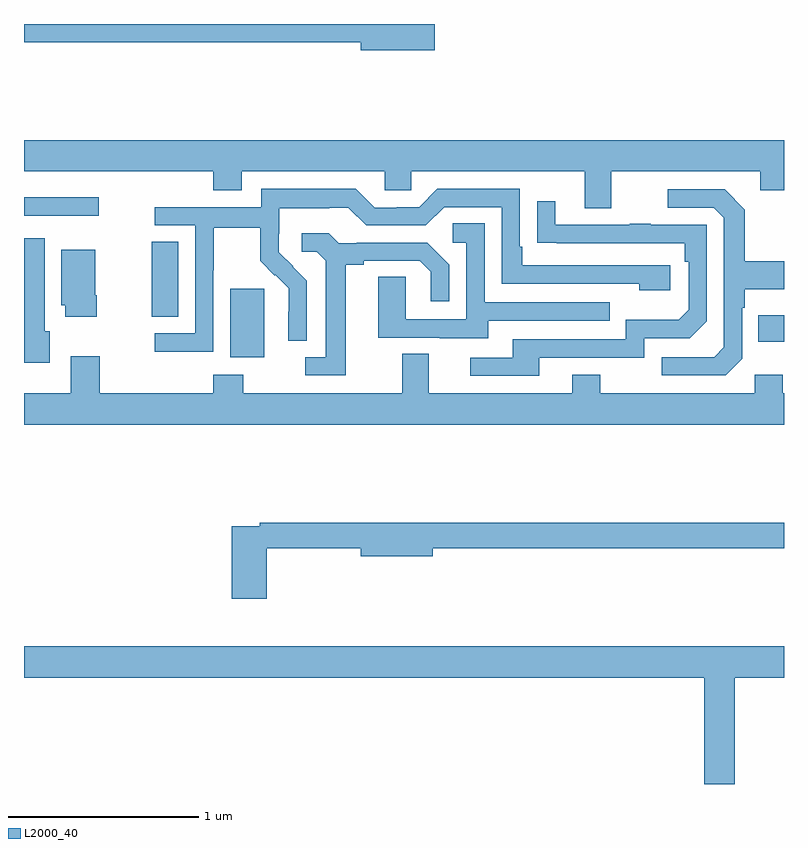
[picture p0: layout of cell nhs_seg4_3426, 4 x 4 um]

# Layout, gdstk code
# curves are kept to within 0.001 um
import gdstk
lib = gdstk.Library(unit=1e-6, precision=1e-09)
def R(c, l, rs):  # rectangles x0, y0, x1, y1
    for r in rs: c.add(gdstk.rectangle(r[:2], r[2:], *l))
def P(c, l, *ps):  # polygons
    for p in ps: c.add(gdstk.Polygon(p, *l))
L2000_40 = (2000, 40)

nhs_seg4_3426 = lib.new_cell('nhs_seg4_3426')
R(nhs_seg4_3426, L2000_40, [(292.085,825.146,292.264,825.507), (294.865,825.227,295,825.367), (291.673,825.358,291.811,825.755), (291,825.891,291.394,825.988)])
P(nhs_seg4_3426, L2000_40, [(293.161,826.9),(291,826.9),(291,826.804),(292.772,826.804),(292.772,826.762),(293.161,826.762)],
  [(294.091,826.124),(294.875,826.124),(294.875,826.025),(295,826.025),(295,826.288),(291,826.288),(291,826.124),(291.995,826.124),(291.995,826.025),(292.147,826.025),(292.147,826.124),(292.899,826.124),(292.899,826.026),(293.037,826.026),(293.037,826.124),(293.951,826.124),(293.951,825.93),(294.091,825.93)],
  [(291.996,825.604),(291.999,825.604),(291.999,825.828),(292.243,825.828),(292.243,825.653),(292.32,825.576),(292.323,825.579),(292.394,825.509),(292.394,825.386),(292.392,825.386),(292.392,825.232),(292.488,825.232),(292.488,825.55),(292.342,825.698),(292.342,825.795),(292.344,825.795),(292.344,825.929),(292.607,825.929),(292.607,825.933),(292.707,825.933),(292.8,825.84),(293.115,825.84),(293.211,825.936),(293.514,825.936),(293.514,825.534),(294.239,825.534),(294.239,825.5),(294.4,825.5),(294.4,825.63),(293.623,825.63),(293.623,825.727),(293.61,825.727),(293.61,826.032),(293.175,826.032),(293.079,825.936),(292.961,825.936),(292.961,825.933),(292.845,825.933),(292.745,826.033),(292.248,826.033),(292.248,825.936),(291.687,825.936),(291.687,825.84),(291.9,825.84),(291.9,825.273),(291.687,825.273),(291.687,825.175),(291.996,825.175)],
  [(294.78,825.138),(294.78,825.407),(294.793,825.407),(294.793,825.503),(295,825.503),(295,825.651),(294.793,825.651),(294.793,825.923),(294.687,826.029),(294.387,826.029),(294.387,825.933),(294.63,825.933),(294.684,825.879),(294.684,825.198),(294.633,825.147),(294.357,825.147),(294.357,825.051),(294.693,825.051)],
  [(293.713,825.144),(294.264,825.144),(294.264,825.246),(294.504,825.246),(294.594,825.336),(294.594,825.843),(294.299,825.843),(294.299,825.848),(294.187,825.848),(294.187,825.843),(293.797,825.843),(293.797,825.967),(293.701,825.967),(293.701,825.748),(294.478,825.747),(294.478,825.65),(294.498,825.65),(294.498,825.396),(294.445,825.343),(294.168,825.343),(294.168,825.24),(293.573,825.24),(293.573,825.144),(293.349,825.144),(293.349,825.048),(293.713,825.048)],
  [(293.443,825.339),(294.083,825.339),(294.083,825.435),(293.424,825.435),(293.424,825.851),(293.256,825.851),(293.256,825.75),(293.328,825.75),(293.328,825.345),(293.01,825.345),(293.01,825.569),(292.865,825.569),(292.865,825.249),(293.189,825.249),(293.189,825.245),(293.443,825.245)],
  [(292.693,825.632),(292.789,825.632),(292.789,825.654),(293.084,825.654),(293.141,825.597),(293.141,825.441),(293.238,825.441),(293.238,825.634),(293.122,825.75),(292.75,825.75),(292.75,825.747),(292.656,825.747),(292.604,825.799),(292.461,825.799),(292.461,825.702),(292.542,825.702),(292.589,825.655),(292.589,825.147),(292.479,825.147),(292.479,825.051),(292.693,825.051)],
  [(291.136,825.282),(291.109,825.282),(291.109,825.772),(291,825.772),(291,825.659),(291.002,825.659),(291.002,825.262),(291,825.262),(291,825.116),(291.136,825.116)],
  [(291.384,825.472),(291.376,825.472),(291.376,825.712),(291.197,825.712),(291.197,825.42),(291.218,825.42),(291.218,825.36),(291.384,825.36)],
  [(295,824.956),(294.993,824.956),(294.993,825.055),(294.846,825.055),(294.846,824.956),(294.033,824.956),(294.033,825.055),(293.885,825.055),(293.885,824.956),(293.131,824.956),(293.131,825.164),(292.991,825.164),(292.991,824.956),(292.155,824.956),(292.155,825.055),(291.995,825.055),(291.995,824.956),(291.398,824.956),(291.398,825.151),(291.245,825.151),(291.245,824.956),(291,824.956),(291,824.792),(295,824.792)],
  [(292.277,824.14),(292.772,824.14),(292.772,824.098),(293.152,824.098),(293.152,824.14),(295,824.14),(295,824.276),(292.24,824.276),(292.24,824.256),(292.094,824.256),(292.094,823.875),(292.277,823.875)],
  [(294.741,823.46),(295,823.46),(295,823.624),(291,823.624),(291,823.46),(294.581,823.46),(294.581,822.9),(294.741,822.9)])

lib.write_gds('nhs_seg4_3426.gds')
